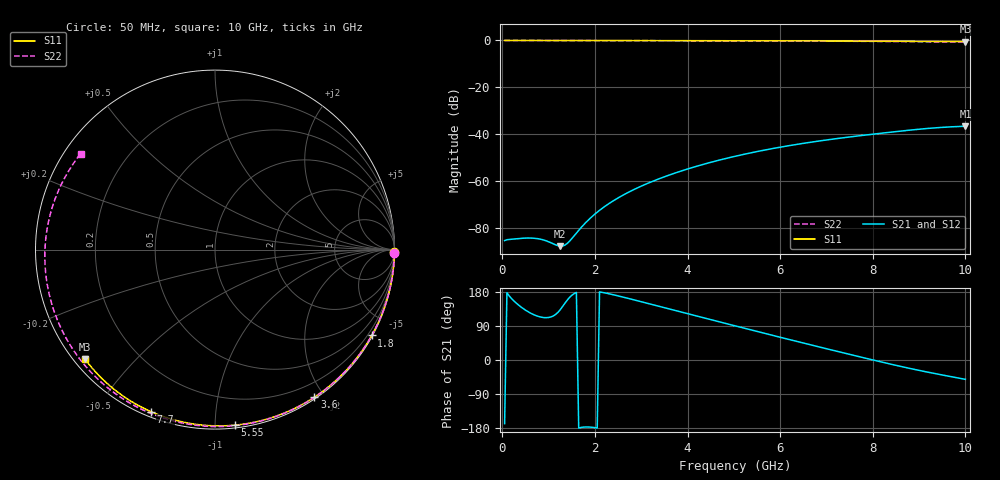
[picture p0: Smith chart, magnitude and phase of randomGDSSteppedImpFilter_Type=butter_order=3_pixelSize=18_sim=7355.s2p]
! freq	dB(S11)	phase(S11)	dB(S12)	phase(S12)
!  dB(S21)	phase(S21)	dB(S22)	phase(S22)
!S-par simulation data
#  GHz  S  DB  R 50
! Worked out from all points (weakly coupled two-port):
!   200 points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, 50 MHz to 10 GHz, reference 50 ohm
!   highest |S21| = -36.59 dB at 10 GHz (marker M1); lowest = -87.7 dB at 1.25 GHz (marker M2)
!   lowest |S11| = -0.5 dB at 10 GHz (marker M3), VSWR 36.82, Z = 1.54 - j18.3 ohm
!   |S11| at or under -10 dB: nowhere
!   |S22| runs from -0.7 to 0.0 dB; largest |S21 - S12| = 0
!   S11 on the Smith chart (normalised r, x): 50 MHz: open; 1.8 GHz: 0.03, -3.91; 3.6 GHz: 0.02, -1.88; 5.55 GHz: 0.02, -1.12; 7.7 GHz: 0.02, -0.68; 10 GHz: 0.03, -0.37
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0.05  -0.00 -0.8  -85.34 -167.9  -85.34 -167.9  -0.00 -1.2
0.65  -0.01 -10.5  -84.29 121.3  -84.29 121.3  -0.02 -15.2
1.25  -0.02 -20.1  -87.72 132.4  -87.72 132.4  -0.04 -29.0
1.65  -0.03 -26.4  -80.96 -179.4  -80.96 -179.4  -0.05 -38.0
1.7  -0.03 -27.1  -79.83 -178.0  -79.83 -178.0  -0.05 -39.1
1.75  -0.04 -27.9  -78.74 -177.1  -78.74 -177.1  -0.05 -40.2
1.8  -0.04 -28.7  -77.70 -176.7  -77.70 -176.7  -0.05 -41.4
2.1  -0.04 -33.4  -72.43 179.7  -72.43 179.7  -0.06 -48.0
2.45  -0.05 -38.8  -67.74 170.7  -67.74 170.7  -0.07 -55.7
2.9  -0.06 -45.6  -63.03 157.0  -63.03 157.0  -0.08 -65.4
3.4  -0.07 -53.1  -58.87 141.2  -58.87 141.2  -0.10 -75.9
3.6  -0.08 -56.1  -57.43 134.9  -57.43 134.9  -0.11 -80.1
4.3  -0.09 -66.2  -53.06 112.8  -53.06 112.8  -0.13 -94.3
5.05  -0.12 -76.7  -49.29 89.4  -49.29 89.4  -0.17 -109.2
5.55  -0.14 -83.6  -47.18 73.9  -47.18 73.9  -0.19 -119.0
6.7  -0.19 -98.8  -43.28 38.7  -43.28 38.7  -0.27 -141.3
7.7  -0.26 -111.5  -40.67 8.9  -40.67 8.9  -0.37 -161.2
8.35  -0.31 -119.5  -39.19 -9.9  -39.19 -9.9  -0.44 -174.8
8.8  -0.35 -125.1  -38.24 -22.3  -38.24 -22.3  -0.50 175.2
9.25  -0.39 -130.6  -37.41 -33.6  -37.41 -33.6  -0.57 164.6
9.65  -0.43 -135.4  -36.88 -43.0  -36.88 -43.0  -0.65 154.4
10  -0.47 -139.7  -36.59 -51.1  -36.59 -51.1  -0.73 144.5
